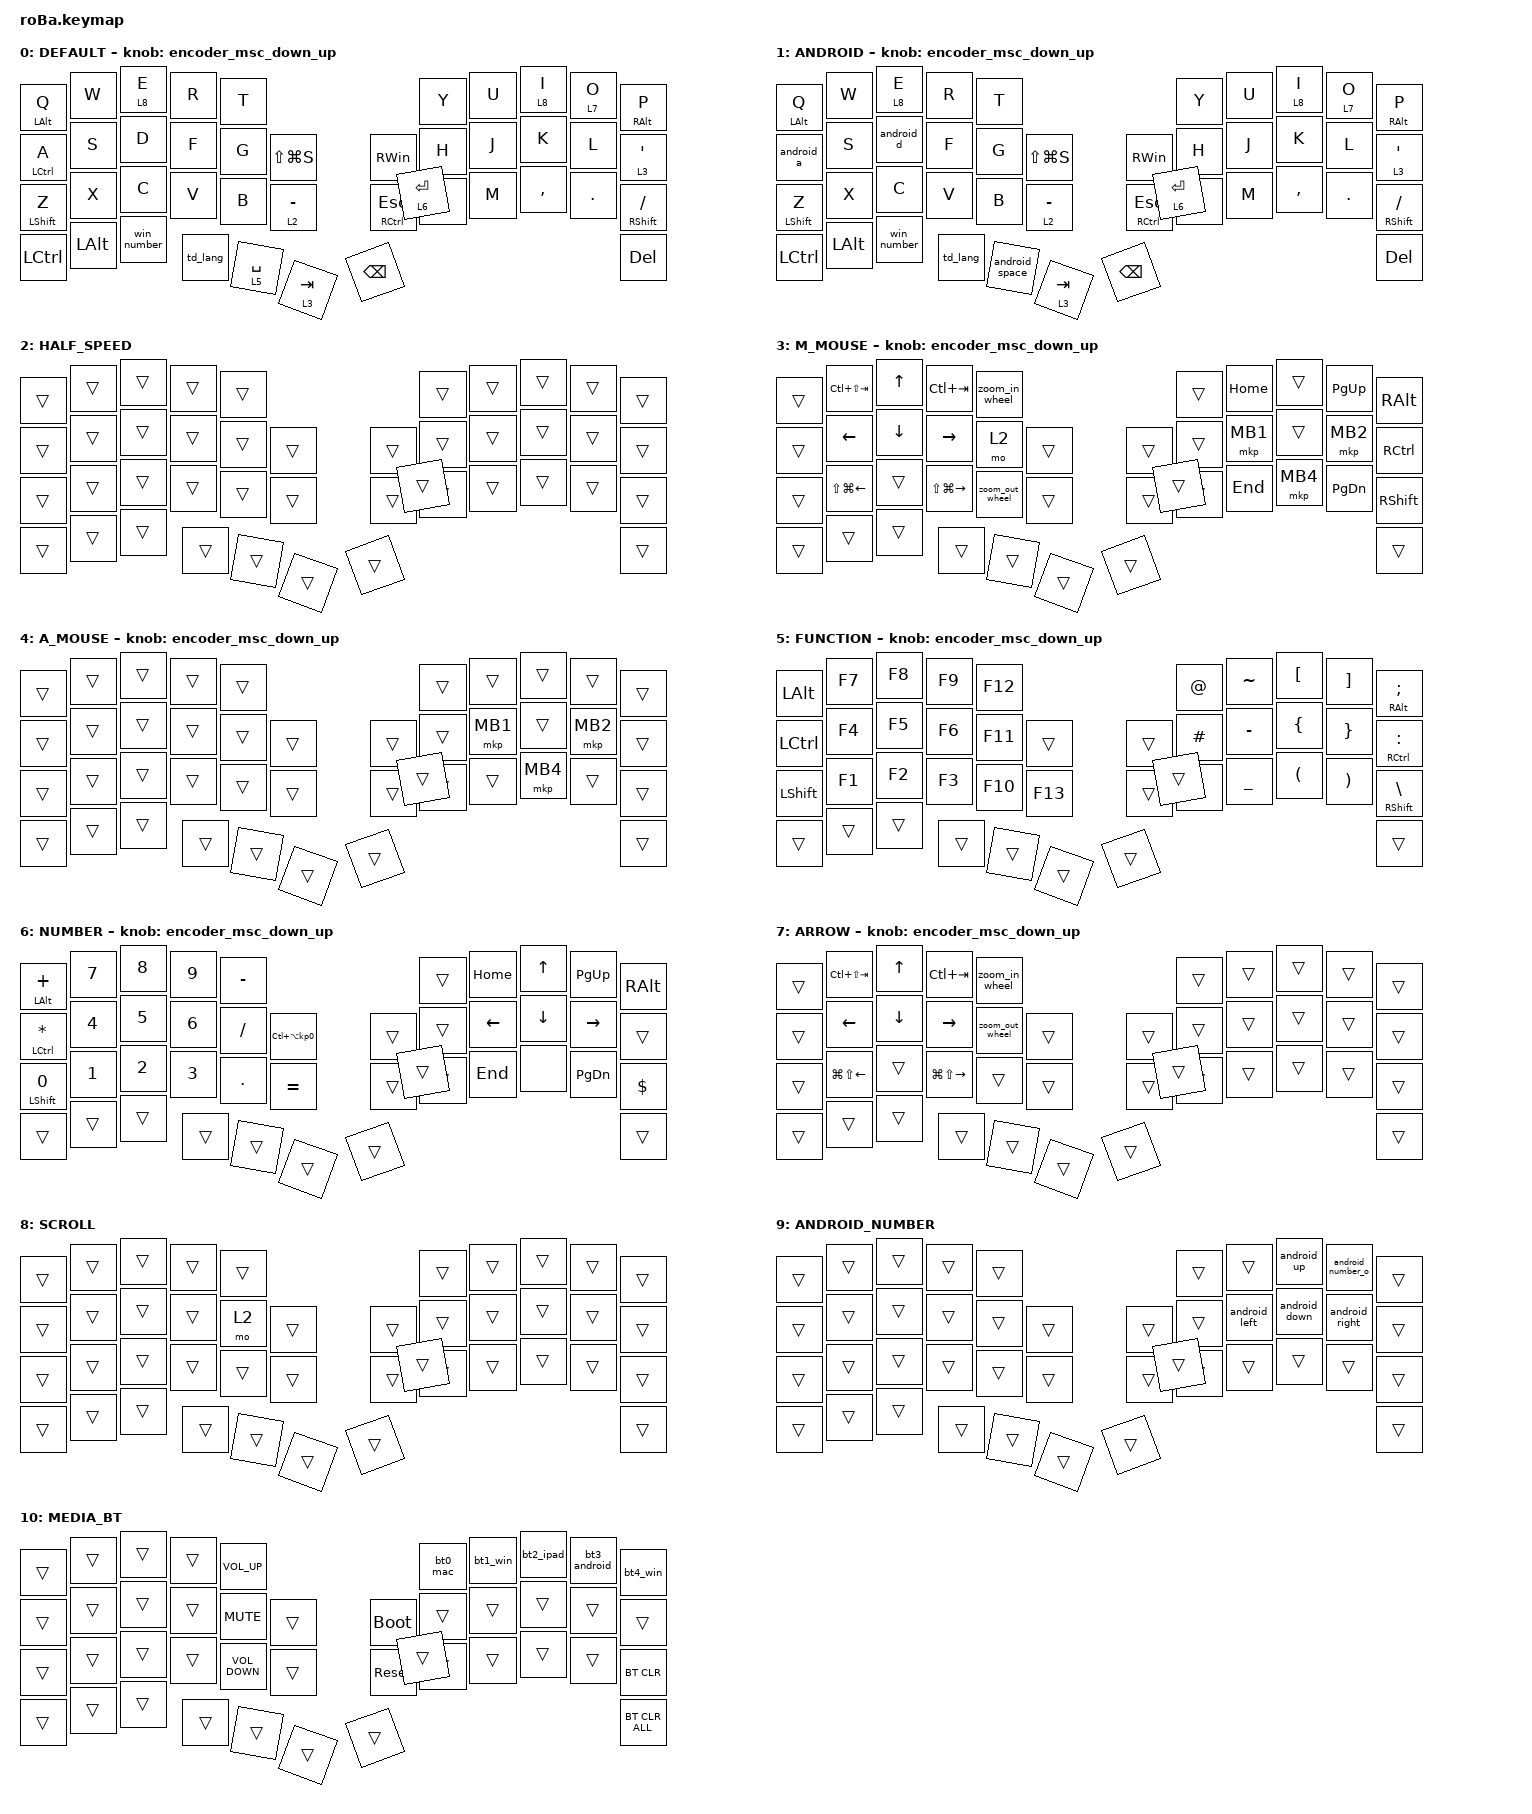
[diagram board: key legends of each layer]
#include <input/processors.dtsi>
#include <behaviors.dtsi>
#include <dt-bindings/zmk/bt.h>
#include <dt-bindings/zmk/keys.h>
#include <dt-bindings/zmk/pointing.h>

#define ZMK_POINTING_DEFAULT_SCRL_VAL 50

&zip_temp_layer {
    require-prior-idle-ms = <500>;
    excluded-positions = <
        18 // J
        20 // L
        31 // ,
    >;
};

&trackball_listener {
    input-processors = <
        &zip_temp_layer 4 10000
    >;
};

&mkp_input_listener {
    input-processors = <
        &zip_temp_layer 4 250
    >;
};

&mt {
    flavor = "balanced";
    quick-tap-ms = <0>;
};

&trackball {
    scroll-layers = <8>;

    arrows {
        layers = <7>;
        bindings =
            <&kp RIGHT_ARROW>,
            <&kp LEFT_ARROW>,
            <&kp UP_ARROW>,
            <&kp DOWN_ARROW>;

        tick = <20>;
        wait-ms = <5>;
        tap-ms = <5>;
    };
};

/ {
    combos {
        compatible = "zmk,combos";

        excl {
            bindings = <&kp EXCL>;
            key-positions = <31 32>;
        };

        mb3 {
            bindings = <&mkp MB3>;
            key-positions = <7 8>;
        };

        percent {
            bindings = <&kp PERCENT>;
            key-positions = <26 27>;
        };

        // ---- Android用コンボを足すときの雛形（コメントを外して使う） ----
        // layers = <1> と書くと、Androidメインレイヤー(1)のときだけ反応する。
        // layers を書かないコンボ（上の3つ）は今までどおり全レイヤーで反応する。
        //
        // android_example {
        //     bindings = <&kp ESCAPE>;
        //     key-positions = <10 11>;
        //     layers = <1>;
        // };
    };

    macros {
        to_layer_0: to_layer_0 {
            compatible = "zmk,behavior-macro-one-param";
            #binding-cells = <1>;
            bindings = <&to 0 &macro_param_1to1 &kp MACRO_PLACEHOLDER>;
            label = "TO_LAYER_0";
        };

        win_number: win_number {
            compatible = "zmk,behavior-macro";
            #binding-cells = <0>;
            wait-ms = <0>;
            tap-ms = <0>;
            bindings =
                <&macro_press>,
                <&mo 6 &kp LGUI>,
                <&macro_pause_for_release>,
                <&macro_release>,
                <&kp LGUI &mo 6>;
        };

        zoom_in_wheel: zoom_in_wheel {
            compatible = "zmk,behavior-macro";
            #binding-cells = <0>;
            wait-ms = <40>;
            tap-ms = <40>;
            bindings =
                <&macro_press>,
                <&kp LCTRL &msc SCRL_UP>,
                <&macro_release>,
                <&msc SCRL_UP &kp LCTRL>;
        };

        zoom_out_wheel: zoom_out_wheel {
            compatible = "zmk,behavior-macro";
            #binding-cells = <0>;
            wait-ms = <40>;
            tap-ms = <40>;
            bindings =
                <&macro_press>,
                <&kp LCTRL &msc SCRL_DOWN>,
                <&macro_release>,
                <&msc SCRL_DOWN &kp LCTRL>;
        };

        // ================= ここから Android用 追加分 =================

        // BT0:Mac BT1:win BT2:iPad BT3:android BT4:win= Windows用
        bt0_mac: bt0_mac {
            compatible = "zmk,behavior-macro";
            #binding-cells = <0>;
            bindings = <&macro_tap &bt BT_SEL 0 &to 0>;
        };

        bt1_win: bt1_win {
            compatible = "zmk,behavior-macro";
            #binding-cells = <0>;
            bindings = <&macro_tap &bt BT_SEL 1 &to 0>;
        };

        bt2_ipad: bt2_ipad {
            compatible = "zmk,behavior-macro";
            #binding-cells = <0>;
            bindings = <&macro_tap &bt BT_SEL 2 &to 0>;
        };

        // BT3 = Android用（BT_SEL 3）。切替と同時にレイヤー1(ANDROID)へ
        bt3_android: bt3_android {
            compatible = "zmk,behavior-macro";
            #binding-cells = <0>;
            bindings = <&macro_tap &bt BT_SEL 3 &to 1>;
        };

        bt4_win: bt4_win {
            compatible = "zmk,behavior-macro";
            #binding-cells = <0>;
            bindings = <&macro_tap &bt BT_SEL 4 &to 0>;
        };
    };

    behaviors {
        lt_to_layer_0: lt_to_layer_0 {
            compatible = "zmk,behavior-hold-tap";
            label = "LAYER_TAP_TO_0";
            bindings = <&mo>, <&to_layer_0>;

            #binding-cells = <2>;
            tapping-term-ms = <200>;
        };

        encoder_msc_down_up: encoder_msc_down_up {
            compatible = "zmk,behavior-sensor-rotate";
            label = "ENCODER_MSC_UP_DOWN";
            #sensor-binding-cells = <0>;
            bindings = <&msc SCRL_DOWN>, <&msc SCRL_UP>;

            tap-ms = <100>;
        };

        td_lang: td_language2_1 {
            compatible = "zmk,behavior-tap-dance";
            #binding-cells = <0>;
            tapping-term-ms = <250>;
            bindings = <&kp LANGUAGE_2>, <&kp LANGUAGE_1>;
        };

        // Windows-style shortcuts, enabled only by bindings on Android layers.
        // Keep GUI where Android needs Cmd; suppress it for Ctrl+Space.
        android_space: android_space {
            compatible = "zmk,behavior-mod-morph";
            #binding-cells = <0>;
            bindings = <&lt 5 SPACE>, <&kp LC(SPACE)>;
            mods = <(MOD_LGUI | MOD_RGUI)>;
        };

        android_d: android_d {
            compatible = "zmk,behavior-mod-morph";
            #binding-cells = <0>;
            bindings = <&kp D>, <&kp ENTER>;
            mods = <(MOD_LGUI | MOD_RGUI)>;
            keep-mods = <(MOD_LGUI | MOD_RGUI)>;
        };

        android_a: android_a {
            compatible = "zmk,behavior-mod-morph";
            #binding-cells = <0>;
            bindings = <&mt LCTRL A>, <&kp N>;
            mods = <(MOD_LGUI | MOD_RGUI)>;
            keep-mods = <(MOD_LGUI | MOD_RGUI)>;
        };

        // Keep Page Up on NUMBER, but send Cmd+O while Win is held.
        android_number_o: android_number_o {
            compatible = "zmk,behavior-mod-morph";
            #binding-cells = <0>;
            bindings = <&kp PAGE_UP>, <&kp O>;
            mods = <(MOD_LGUI | MOD_RGUI)>;
            keep-mods = <(MOD_LGUI | MOD_RGUI)>;
        };

        android_up: android_up {
            compatible = "zmk,behavior-mod-morph";
            #binding-cells = <0>;
            bindings = <&kp UP_ARROW>, <&kp LC(UP_ARROW)>;
            mods = <(MOD_LGUI | MOD_RGUI)>;
            keep-mods = <(MOD_LGUI | MOD_RGUI)>;
        };

        android_down: android_down {
            compatible = "zmk,behavior-mod-morph";
            #binding-cells = <0>;
            bindings = <&kp DOWN_ARROW>, <&kp LC(DOWN_ARROW)>;
            mods = <(MOD_LGUI | MOD_RGUI)>;
            keep-mods = <(MOD_LGUI | MOD_RGUI)>;
        };

        android_left: android_left {
            compatible = "zmk,behavior-mod-morph";
            #binding-cells = <0>;
            bindings = <&alt_back>, <&kp LC(LEFT_ARROW)>;
            mods = <(MOD_LGUI | MOD_RGUI)>;
            keep-mods = <(MOD_LGUI | MOD_RGUI)>;
        };

        android_right: android_right {
            compatible = "zmk,behavior-mod-morph";
            #binding-cells = <0>;
            bindings = <&kp RIGHT_ARROW>, <&kp LC(RIGHT_ARROW)>;
            mods = <(MOD_LGUI | MOD_RGUI)>;
            keep-mods = <(MOD_LGUI | MOD_RGUI)>;
        };

        // Alt+← を Cmd+Backspace（Androidの「戻る」）に変える。
        // keep-mods を書かないので Alt は外れて、Cmd+Backspace だけが送られる
        alt_back: alt_back {
            compatible = "zmk,behavior-mod-morph";
            #binding-cells = <0>;
            bindings = <&kp LEFT_ARROW>, <&kp LG(BACKSPACE)>;
            mods = <(MOD_LALT | MOD_RALT)>;
        };
    };

    keymap {
        compatible = "zmk,keymap";

        DEFAULT {
            bindings = <
&mt LEFT_ALT Q    &kp W         &lt 8 E      &kp R     &kp T                                             &kp Y        &kp U  &lt 8 I    &lt 7 O  &mt RIGHT_ALT P
&mt LCTRL A       &kp S         &kp D        &kp F     &kp G        &kp LS(LG(S))      &kp RIGHT_WIN     &kp H        &kp J  &kp K      &kp L    &lt 3 APOS
&mt LEFT_SHIFT Z  &kp X         &kp C        &kp V     &kp B        &lt 2 MINUS        &mt RCTRL ESCAPE  &kp N        &kp M  &kp COMMA  &kp DOT  &mt RIGHT_SHIFT SLASH
&kp LCTRL         &kp LEFT_ALT  &win_number  &td_lang  &lt 5 SPACE  &lt 3 TAB          &kp BACKSPACE     &lt 6 ENTER                             &kp DELETE
            >;

            sensor-bindings = <&encoder_msc_down_up>;
        };

        ANDROID {
            bindings = <
&mt LEFT_ALT Q    &kp W         &lt 8 E      &kp R     &kp T                                             &kp Y        &kp U  &lt 8 I    &lt 7 O  &mt RIGHT_ALT P
&android_a       &kp S         &android_d        &kp F     &kp G        &kp LS(LG(S))      &kp RIGHT_WIN     &kp H        &kp J  &kp K      &kp L         &lt 3 APOS
&mt LEFT_SHIFT Z  &kp X         &kp C        &kp V     &kp B        &lt 2 MINUS        &mt RCTRL ESCAPE  &kp N        &kp M  &kp COMMA  &kp DOT  &mt RIGHT_SHIFT SLASH
&kp LCTRL         &kp LEFT_ALT  &win_number  &td_lang  &android_space  &lt 3 TAB          &kp BACKSPACE     &lt 6 ENTER                             &kp DELETE
            >;

            sensor-bindings = <&encoder_msc_down_up>;
        };

        // Keep HALF_SPEED below mouse and scroll modes: the driver checks the highest layer.
        HALF_SPEED {
            bindings = <
&trans  &trans  &trans  &trans  &trans                      &trans  &trans  &trans  &trans  &trans
&trans  &trans  &trans  &trans  &trans  &trans      &trans  &trans  &trans  &trans  &trans  &trans
&trans  &trans  &trans  &trans  &trans  &trans      &trans  &trans  &trans  &trans  &trans  &trans
&trans  &trans  &trans  &trans  &trans  &trans      &trans  &trans                          &trans
            >;
        };

        M_MOUSE {
            bindings = <
&trans  &kp LC(LS(TAB))   &kp UP    &kp LC(TAB)        &zoom_in_wheel                       &trans  &kp HOME  &trans    &kp PAGE_UP    &kp RIGHT_ALT
&trans  &kp LEFT          &kp DOWN  &kp RIGHT          &mo 2            &trans      &trans  &trans  &mkp MB1  &trans    &mkp MB2       &kp RCTRL
&trans  &kp LS(LG(LEFT))  &trans    &kp LS(LG(RIGHT))  &zoom_out_wheel  &trans      &trans  &trans  &kp END   &mkp MB4  &kp PAGE_DOWN  &kp RIGHT_SHIFT
&trans  &trans            &trans    &trans             &trans           &trans      &trans  &trans                                     &trans
            >;

            sensor-bindings = <&encoder_msc_down_up>;
        };

        A_MOUSE {
            bindings = <
&trans  &trans  &trans  &trans  &trans                      &trans  &trans    &trans    &trans    &trans
&trans  &trans  &trans  &trans  &trans  &trans      &trans  &trans  &mkp MB1  &trans    &mkp MB2  &trans
&trans  &trans  &trans  &trans  &trans  &trans      &trans  &trans  &trans    &mkp MB4  &trans    &trans
&trans  &trans  &trans  &trans  &trans  &trans      &trans  &trans                                &trans
            >;

            sensor-bindings = <&encoder_msc_down_up>;
        };

        FUNCTION {
            bindings = <
&kp LEFT_ALT    &kp F7  &kp F8  &kp F9  &kp F12                       &kp AT         &kp TILDE  &kp LEFT_BRACKET      &kp RIGHT_BRACKET      &mt RIGHT_ALT SEMICOLON
&kp LCTRL       &kp F4  &kp F5  &kp F6  &kp F11  &trans       &trans  &kp HASH       &kp MINUS  &kp LEFT_BRACE        &kp RIGHT_BRACE        &mt RCTRL COLON
&kp LEFT_SHIFT  &kp F1  &kp F2  &kp F3  &kp F10  &kp F13      &trans  &kp AMPERSAND  &kp UNDER  &kp LEFT_PARENTHESIS  &kp RIGHT_PARENTHESIS  &mt RIGHT_SHIFT BACKSLASH
&trans          &trans  &trans  &trans  &trans   &trans       &trans  &trans                                                                 &trans
            >;

            sensor-bindings = <&encoder_msc_down_up>;
        };

        NUMBER {
            bindings = <
&mt LEFT_ALT PLUS  &kp NUMBER_7  &kp NUMBER_8  &kp NUMBER_9  &kp MINUS                                       &trans  &kp HOME        &kp UP_ARROW    &kp PAGE_UP      &kp RIGHT_ALT
&mt LCTRL ASTRK    &kp NUMBER_4  &kp N5        &kp NUMBER_6  &kp SLASH  &kp LC(LA(KP_NUMBER_0))      &trans  &trans  &kp LEFT_ARROW  &kp DOWN_ARROW  &kp RIGHT_ARROW  &trans
&mt LEFT_SHIFT N0  &kp NUMBER_1  &kp NUMBER_2  &kp NUMBER_3  &kp DOT    &kp EQUAL                    &trans  &trans  &kp END         &none           &kp PAGE_DOWN    &kp DOLLAR
&trans             &trans        &trans        &trans        &trans     &trans                       &trans  &trans                                                   &trans
            >;

            sensor-bindings = <&encoder_msc_down_up>;
        };

        ARROW {
            bindings = <
&trans  &kp LC(LS(TAB))         &kp UP_ARROW    &kp LC(TAB)              &zoom_in_wheel                       &trans  &trans  &trans  &trans  &trans
&trans  &kp LEFT_ARROW          &kp DOWN_ARROW  &kp RIGHT_ARROW          &zoom_out_wheel  &trans      &trans  &trans  &trans  &trans  &trans  &trans
&trans  &kp LG(LS(LEFT_ARROW))  &trans          &kp LG(LS(RIGHT_ARROW))  &trans           &trans      &trans  &trans  &trans  &trans  &trans  &trans
&trans  &trans                  &trans          &trans                   &trans           &trans      &trans  &trans                          &trans
            >;

            sensor-bindings = <&encoder_msc_down_up>;
        };

        SCROLL {
            bindings = <
&trans  &trans  &trans  &trans  &trans                      &trans  &trans  &trans  &trans  &trans
&trans  &trans  &trans  &trans  &mo 2   &trans      &trans  &trans  &trans  &trans  &trans  &trans
&trans  &trans  &trans  &trans  &trans  &trans      &trans  &trans  &trans  &trans  &trans  &trans
&trans  &trans  &trans  &trans  &trans  &trans      &trans  &trans                          &trans
            >;
        };

        // 9: Android + NUMBER. Other keys fall through to the shared layer.
        ANDROID_NUMBER {
            bindings = <
&trans &trans &trans &trans &trans                   &trans &trans &android_up &android_number_o &trans
&trans &trans &trans &trans &trans &trans    &trans &trans &android_left &android_down &android_right &trans
&trans &trans &trans &trans &trans &trans    &trans &trans &trans &trans &trans &trans
&trans &trans &trans &trans &trans &trans    &trans &trans &trans
            >;
        };

        // 10: Shared media layer stays above the Android number overlay.
        MEDIA_BT {
            bindings = <
&trans  &trans  &trans  &trans  &kp C_VOLUME_UP                             &bt0_mac  &bt1_win  &bt2_ipad  &bt3_android  &bt4_win
&trans  &trans  &trans  &trans  &kp C_MUTE         &trans      &bootloader  &trans    &trans    &trans    &trans        &trans
&trans  &trans  &trans  &trans  &kp C_VOLUME_DOWN  &trans      &sys_reset   &trans    &trans    &trans    &trans        &bt BT_CLR
&trans  &trans  &trans  &trans  &trans             &trans      &trans       &trans                                      &bt BT_CLR_ALL
            >;
        };

    };
    conditional_layers {
        compatible = "zmk,conditional-layers";

        tri_layer {
            if-layers = <5 6>;
            then-layer = <10>;
        };

        android_number {
            if-layers = <1 6>;
            then-layer = <9>;
        };

    };
};
